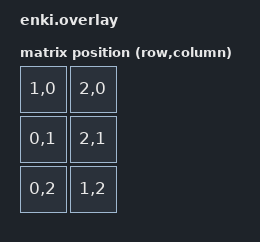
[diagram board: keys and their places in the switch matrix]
/ {
   chosen {
      zephyr,display = &st7789v;
  };
  
   trackball_listener: trackball_listener {
      compatible = "zmk,input-listener";
      status = "okay";
      device = <&trackball_split>;
      input-processors = <&zip_xy_transform (INPUT_TRANSFORM_X_INVERT|INPUT_TRANSFORM_Y_INVERT)>, <&zip_temp_layer 3 700>;

      scroll {
         layers = <1>;
         input-processors = <&zip_xy_transform INPUT_TRANSFORM_X_INVERT>, <&zip_xy_scaler 1 16>, <&zip_xy_to_scroll_mapper>;
      };

      arrow {
         layers = <2>;
         input-processors = <&zip_xy_transform (INPUT_TRANSFORM_X_INVERT|INPUT_TRANSFORM_Y_INVERT)>;
         process-next;
      };
      
      arrow-prevent-move {
         layers = <2>;
         input-processors = <&zip_xy_scaler 0 1>;
      };
   };
   
   kscan0: kscan0 {
      compatible = "zmk,kscan-gpio-charlieplex";
      interrupt-gpios = <&gpio0 10 (GPIO_ACTIVE_HIGH)>;
      gpios
         = <&gpio1  10 (GPIO_ACTIVE_HIGH)>
         , <&gpio1   0 (GPIO_ACTIVE_HIGH)>
         , <&gpio0  16 (GPIO_ACTIVE_HIGH)>
         ;
   };

	default_transform: keymap_transform_0 {
		compatible = "zmk,matrix-transform";
		columns = <3>;
		rows = <3>;
		
		map = <
		RC( 1, 0)  RC( 2, 0)
		RC( 0, 1)  RC( 2, 1)
		RC( 0, 2)  RC( 1, 2)
		>;
	};
};


// I2C0 configuration for ambient light sensor
&i2c0 {
    compatible = "nordic,nrf-twim";
    status = "okay";
    pinctrl-0 = <&i2c0_default>;
    pinctrl-1 = <&i2c0_sleep>;
    pinctrl-names = "default", "sleep";
    clock-frequency = <I2C_BITRATE_STANDARD>;

    // APDS9960 ambient light sensor
    apds9960: apds9960@39 {
        compatible = "avago,apds9960";
        reg = <0x39>;
        status = "okay";
        int-gpios = <&gpio0 28 (GPIO_ACTIVE_LOW | GPIO_PULL_UP)>; // D2 = P0.28
    };
};

&spi1 {
    status = "okay";
    cs-gpios =  <&xiao_d 6 GPIO_ACTIVE_LOW>;
    pinctrl-0 = <&spi1_default>;
    pinctrl-1 = <&spi1_sleep>;
    pinctrl-names = "default", "sleep";
    compatible = "nordic,nrf-spim";

    trackball: pd@0 {
        status = "okay";
        compatible = "pixart,pmw3610";
        reg = <0>;
        spi-max-frequency = <1500000>;
        irq-gpios = <&gpio0 9 (GPIO_ACTIVE_LOW | GPIO_PULL_UP)>;
        cpi = <800>;
        evt-type = <INPUT_EV_REL>;
        x-input-code = <INPUT_REL_X>;
        y-input-code = <INPUT_REL_Y>;
        force-awake;
    };
};

// Required pinctrl configurations
&pinctrl {
    i2c0_default: i2c0_default {
        group1 {
            psels = <NRF_PSEL(TWIM_SDA, 0, 4)>,  // Pin 4 (D4) = P0.04 = SDA
                    <NRF_PSEL(TWIM_SCL, 0, 5)>;  // Pin 5 (D5) = P0.05 = SCL
        };
    };

    i2c0_sleep: i2c0_sleep {
        group1 {
            psels = <NRF_PSEL(TWIM_SDA, 0, 4)>,  // Pin 4 (D4) = P0.04 = SDA
                    <NRF_PSEL(TWIM_SCL, 0, 5)>;  // Pin 5 (D5) = P0.05 = SCL
            low-power-enable;
        };
    };

    spi1_default: spi0_default {
        group1 {
            psels = <NRF_PSEL(SPIM_SCK,  1, 13)>,
                    <NRF_PSEL(SPIM_MOSI, 1, 15)>,
                    <NRF_PSEL(SPIM_MISO, 0, 3)>;
        };
    };

    spi1_sleep: spi0_sleep {
        group1 {
            psels = <NRF_PSEL(SPIM_SCK,  1, 13)>,
                    <NRF_PSEL(SPIM_MOSI, 1, 15)>,
                    <NRF_PSEL(SPIM_MISO, 0, 3)>;
            low-power-enable;
        };
    };
};

